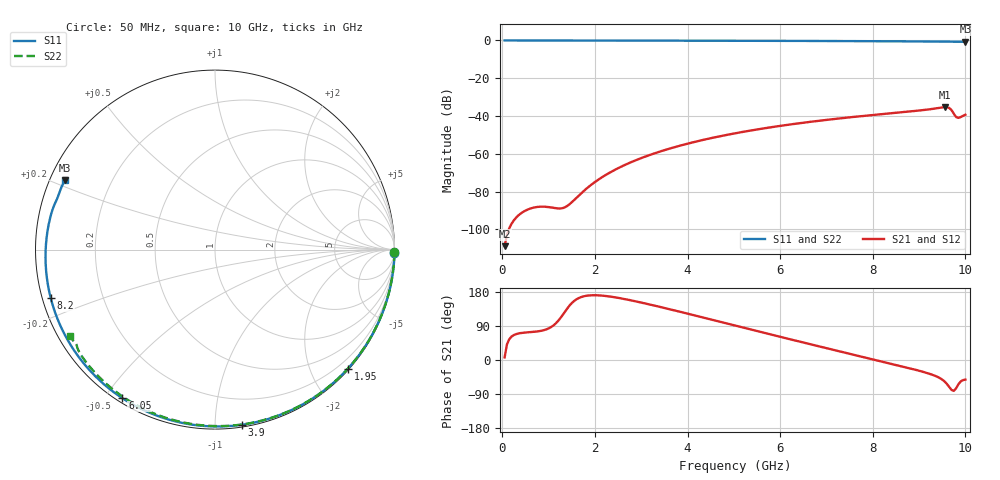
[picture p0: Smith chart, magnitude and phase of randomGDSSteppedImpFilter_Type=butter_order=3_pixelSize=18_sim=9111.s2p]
! freq	dB(S11)	phase(S11)	dB(S12)	phase(S12)
!  dB(S21)	phase(S21)	dB(S22)	phase(S22)
!S-par simulation data
#  GHz  S  DB  R 50
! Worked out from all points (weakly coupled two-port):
!   200 points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, 50 MHz to 10 GHz, reference 50 ohm
!   highest |S21| = -35.32 dB at 9.55 GHz (marker M1); lowest = -108.9 dB at 50 MHz (marker M2)
!   lowest |S11| = -0.7 dB at 10 GHz (marker M3), VSWR 24.79, Z = 2.12 + j11 ohm
!   |S11| at or under -10 dB: nowhere
!   |S22| runs from -0.6 to 0.0 dB; largest |S21 - S12| = 0
!   S11 on the Smith chart (normalised r, x): 50 MHz: open; 1.95 GHz: 0.02, -2.62; 3.9 GHz: 0.01, -1.17; 6.05 GHz: 0.02, -0.56; 8.2 GHz: 0.02, -0.15; 10 GHz: 0.04, +0.22
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0.05  -0.00 -1.1  -108.92 6.8  -108.92 6.8  -0.00 -0.9
0.85  -0.02 -18.5  -87.99 77.3  -87.99 77.3  -0.02 -14.6
1.75  -0.05 -37.6  -79.89 167.8  -79.89 167.8  -0.04 -29.8
1.95  -0.05 -41.8  -75.87 170.9  -75.87 170.9  -0.04 -33.2
2.25  -0.06 -48.1  -70.98 168.7  -70.98 168.7  -0.05 -38.1
2.6  -0.07 -55.2  -66.45 161.8  -66.45 161.8  -0.06 -43.8
3  -0.08 -63.4  -62.29 151.6  -62.29 151.6  -0.07 -50.3
3.4  -0.09 -71.3  -58.86 140.3  -58.86 140.3  -0.07 -56.6
3.9  -0.11 -81.2  -55.29 125.4  -55.29 125.4  -0.09 -64.4
5.05  -0.16 -103.2  -49.05 90.2  -49.05 90.2  -0.12 -81.7
6.05  -0.22 -121.9  -45.06 59.7  -45.06 59.7  -0.17 -96.1
6.7  -0.26 -134.1  -42.94 40.2  -42.94 40.2  -0.20 -105.1
7.5  -0.33 -149.5  -40.71 16.4  -40.71 16.4  -0.26 -116.0
8.2  -0.41 -163.5  -39.01 -4.1  -39.01 -4.1  -0.31 -125.4
8.35  -0.42 -166.6  -38.66 -8.5  -38.66 -8.5  -0.33 -127.4
9  -0.51 179.4  -37.11 -28.3  -37.11 -28.3  -0.39 -136.2
9.55  -0.61 166.3  -35.32 -56.7  -35.32 -56.7  -0.49 -143.8
9.65  -0.65 163.8  -35.72 -71.1  -35.72 -71.1  -0.55 -145.1
9.7  -0.68 162.6  -36.86 -78.9  -36.86 -78.9  -0.58 -145.5
9.8  -0.69 160.3  -40.55 -74.6  -40.55 -74.6  -0.57 -146.5
9.85  -0.69 159.1  -41.00 -63.8  -41.00 -63.8  -0.55 -147.1
10  -0.70 155.1  -39.31 -51.8  -39.31 -51.8  -0.53 -149.1
